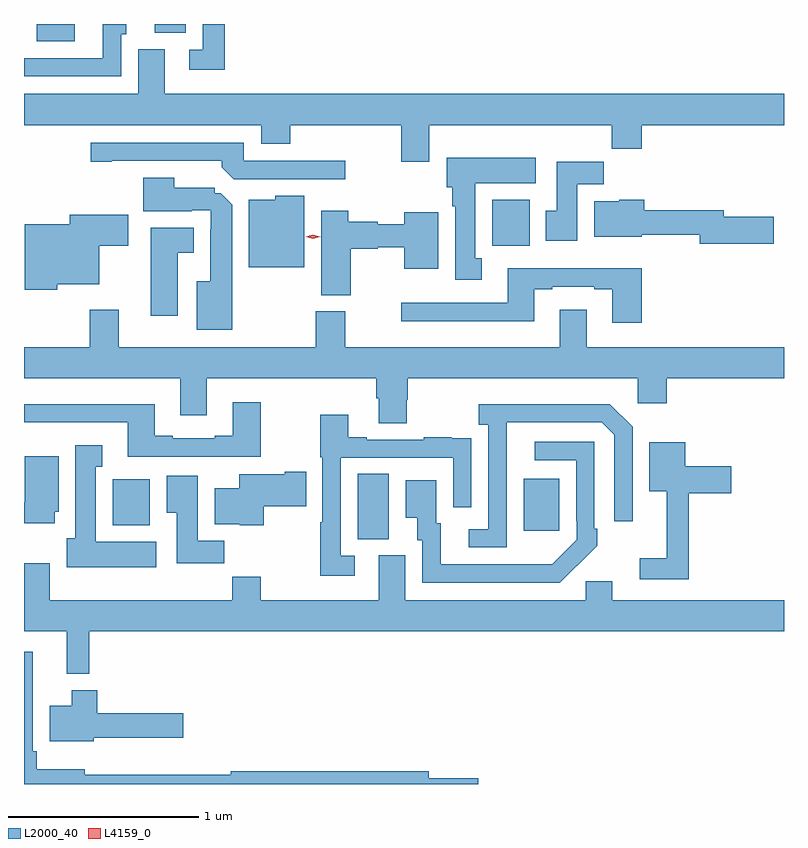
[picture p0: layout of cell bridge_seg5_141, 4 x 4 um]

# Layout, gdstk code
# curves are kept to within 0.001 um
import gdstk
lib = gdstk.Library(unit=1e-6, precision=1e-09)
def R(c, l, rs):  # rectangles x0, y0, x1, y1
    for r in rs: c.add(gdstk.rectangle(r[:2], r[2:], *l))
def P(c, l, *ps):  # polygons
    for p in ps: c.add(gdstk.Polygon(p, *l))
L2000_40 = (2000, 40)
L4159_0 = (4159, 0)

bridge_seg5_141 = lib.new_cell('bridge_seg5_141')
R(bridge_seg5_141, L2000_40, [(161.99,889.213,162.154,889.556), (162.863,889.257,163.051,889.531), (160.7,889.286,160.897,889.528), (162.698,890.756,162.895,890.998), (160.302,891.834,160.501,891.924), (160.922,891.877,161.086,891.924)])
P(bridge_seg5_141, L2000_40, [(160.746,891.87),(160.771,891.87),(160.771,891.924),(160.649,891.924),(160.649,891.744),(160.234,891.744),(160.234,891.648),(160.746,891.648)],
  [(161.291,891.924),(161.175,891.924),(161.175,891.789),(161.103,891.789),(161.103,891.684),(161.291,891.684)],
  [(162.367,891.392),(163.327,891.392),(163.327,891.268),(163.484,891.268),(163.484,891.392),(164.234,891.392),(164.234,891.556),(160.975,891.556),(160.975,891.792),(160.835,891.792),(160.835,891.556),(160.234,891.556),(160.234,891.392),(161.483,891.392),(161.483,891.293),(161.636,891.293),(161.636,891.392),(162.22,891.392),(162.22,891.198),(162.367,891.198)],
  [(161.926,891.204),(161.391,891.204),(161.391,891.3),(160.584,891.3),(160.584,891.199),(160.696,891.199),(160.696,891.204),(161.276,891.204),(161.276,891.17),(161.337,891.108),(161.926,891.108)],
  [(162.643,890.69),(162.61,890.69),(162.61,891.086),(162.928,891.086),(162.928,891.22),(162.458,891.22),(162.458,891.066),(162.488,891.066),(162.488,890.966),(162.503,890.966),(162.503,890.577),(162.643,890.577)],
  [(163.147,891.08),(163.286,891.08),(163.286,891.199),(163.037,891.199),(163.037,890.94),(162.98,890.94),(162.98,890.784),(163.147,890.784)],
  [(161.329,890.973),(161.269,891.033),(161.238,891.033),(161.238,891.061),(161.026,891.061),(161.026,891.115),(160.862,891.115),(160.862,890.939),(161.117,890.939),(161.117,890.943),(161.217,890.943),(161.217,890.843),(161.213,890.843),(161.213,890.569),(161.144,890.569),(161.144,890.315),(161.329,890.315)],
  [(161.71,891.019),(161.556,891.019),(161.556,890.998),(161.417,890.998),(161.417,890.645),(161.71,890.645)],
  [(164.179,890.91),(163.918,890.91),(163.918,890.944),(163.499,890.944),(163.499,890.998),(163.368,890.998),(163.368,890.992),(163.235,890.992),(163.235,890.804),(163.486,890.804),(163.486,890.815),(163.79,890.815),(163.79,890.768),(164.179,890.768)],
  [(161.953,890.74),(162.095,890.74),(162.095,890.748),(162.236,890.748),(162.236,890.636),(162.415,890.636),(162.415,890.932),(162.236,890.932),(162.236,890.869),(162.095,890.869),(162.095,890.883),(161.94,890.883),(161.94,890.941),(161.798,890.941),(161.798,890.497),(161.953,890.497)],
  [(160.409,890.555),(160.63,890.555),(160.63,890.758),(160.783,890.758),(160.783,890.92),(160.475,890.92),(160.475,890.869),(160.238,890.869),(160.238,890.525),(160.409,890.525)],
  [(161.044,890.72),(161.128,890.72),(161.128,890.851),(160.901,890.851),(160.901,890.388),(161.044,890.388)],
  [(163.484,890.638),(162.779,890.638),(162.779,890.457),(162.219,890.457),(162.219,890.36),(162.919,890.36),(162.919,890.529),(163.015,890.529),(163.015,890.541),(163.235,890.541),(163.235,890.529),(163.331,890.529),(163.331,890.352),(163.484,890.352)],
  [(162.249,889.947),(162.254,889.947),(162.254,890.06),(163.464,890.06),(163.464,889.929),(163.616,889.929),(163.616,890.06),(164.234,890.06),(164.234,890.224),(163.195,890.224),(163.195,890.419),(163.055,890.419),(163.055,890.224),(161.925,890.224),(161.925,890.412),(161.77,890.412),(161.77,890.224),(160.732,890.224),(160.732,890.419),(160.58,890.419),(160.58,890.224),(160.234,890.224),(160.234,890.06),(161.057,890.06),(161.057,889.866),(161.197,889.866),(161.197,890.06),(162.089,890.06),(162.089,889.954),(162.101,889.954),(162.101,889.822),(162.249,889.822)],
  [(161.481,889.933),(161.333,889.933),(161.333,889.756),(161.237,889.756),(161.237,889.743),(161.017,889.743),(161.017,889.756),(160.921,889.756),(160.921,889.924),(160.234,889.924),(160.234,889.827),(160.781,889.827),(160.781,889.647),(161.481,889.647)],
  [(162.774,889.627),(162.775,889.827),(163.275,889.827),(163.341,889.761),(163.341,889.308),(163.437,889.308),(163.437,889.803),(163.316,889.924),(162.627,889.924),(162.627,889.814),(162.678,889.814),(162.678,889.266),(162.576,889.266),(162.576,889.17),(162.774,889.17)],
  [(161.974,889.125),(161.901,889.125),(161.901,889.641),(162.492,889.641),(162.492,889.38),(162.588,889.38),(162.588,889.634),(162.587,889.634),(162.587,889.743),(162.485,889.743),(162.485,889.75),(162.337,889.75),(162.337,889.737),(162.037,889.737),(162.037,889.75),(161.941,889.75),(161.941,889.867),(161.793,889.867),(161.793,889.644),(161.805,889.644),(161.805,889.301),(161.793,889.301),(161.793,889.02),(161.974,889.02)],
  [(163.145,889.075),(163.146,889.074),(163.251,889.179),(163.251,889.267),(163.236,889.267),(163.236,889.725),(162.921,889.725),(162.921,889.629),(163.14,889.629),(163.14,889.309),(163.143,889.309),(163.143,889.209),(163.015,889.081),(162.427,889.08),(162.427,889.296),(162.403,889.296),(162.403,889.522),(162.242,889.522),(162.242,889.325),(162.305,889.325),(162.305,889.206),(162.33,889.206),(162.33,888.984),(163.054,888.984)],
  [(163.733,889.454),(163.957,889.454),(163.957,889.596),(163.714,889.596),(163.714,889.723),(163.526,889.723),(163.526,889.466),(163.616,889.466),(163.616,889.111),(163.476,889.111),(163.476,889.002),(163.733,889.002)],
  [(160.93,889.198),(160.612,889.198),(160.612,889.595),(160.645,889.595),(160.645,889.708),(160.505,889.708),(160.505,889.218),(160.46,889.218),(160.46,889.064),(160.93,889.064)],
  [(160.396,889.356),(160.417,889.356),(160.417,889.648),(160.238,889.648),(160.238,889.408),(160.234,889.408),(160.234,889.296),(160.396,889.296)],
  [(161.496,889.385),(161.719,889.385),(161.719,889.568),(161.606,889.568),(161.606,889.555),(161.366,889.555),(161.366,889.48),(161.237,889.48),(161.237,889.292),(161.37,889.292),(161.37,889.286),(161.496,889.286)],
  [(161.288,889.204),(161.149,889.204),(161.149,889.546),(160.985,889.546),(160.985,889.352),(161.039,889.352),(161.039,889.086),(161.288,889.086)],
  [(160.577,888.728),(164.234,888.728),(164.234,888.892),(163.33,888.892),(163.33,888.99),(163.191,888.99),(163.191,888.892),(162.241,888.892),(162.241,889.128),(162.101,889.128),(162.101,888.892),(161.481,888.892),(161.481,889.016),(161.329,889.016),(161.329,888.892),(160.369,888.892),(160.369,889.087),(160.234,889.087),(160.234,888.728),(160.46,888.728),(160.46,888.503),(160.577,888.503)],
  [(162.625,887.954),(162.364,887.954),(162.364,887.99),(161.321,887.99),(161.321,887.972),(160.555,887.972),(160.555,888.001),(160.301,888.001),(160.301,888.097),(160.281,888.097),(160.281,888.619),(160.234,888.619),(160.234,887.924),(162.625,887.924)],
  [(160.602,888.167),(161.071,888.167),(161.071,888.297),(160.619,888.297),(160.619,888.418),(160.484,888.418),(160.484,888.337),(160.37,888.337),(160.37,888.149),(160.602,888.149)])
P(bridge_seg5_141, L4159_0, [(161.755,890.794),(161.717,890.804),(161.717,890.804),(161.717,890.804),(161.755,890.814),(161.793,890.804),(161.793,890.804),(161.793,890.804)])

lib.write_gds('bridge_seg5_141.gds')
